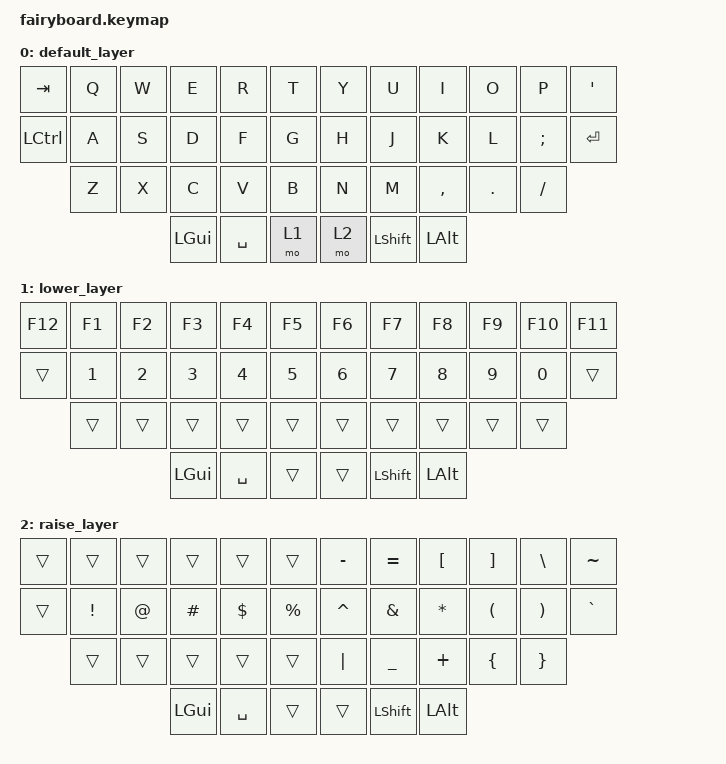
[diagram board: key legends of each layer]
/*
 * Copyright (c) 2020 The ZMK Contributors
 *
 * SPDX-License-Identifier: MIT
 * Modified for fairyboard by Steven Eisinger
 */

#include <behaviors.dtsi>
#include <dt-bindings/zmk/keys.h>
#include <dt-bindings/zmk/bt.h>

/ {
    keymap {
        compatible = "zmk,keymap";

        default_layer {
            bindings = <
&kp TAB    &kp Q     &kp W     &kp E    &kp R     &kp T     &kp Y     &kp U     &kp I     &kp O     &kp P     &kp SQT
&kp LCTRL  &kp A     &kp S     &kp D    &kp F     &kp G     &kp H     &kp J     &kp K     &kp L     &kp SEMI  &kp RET
           &kp Z     &kp X     &kp C    &kp V     &kp B     &kp N     &kp M     &kp COMMA &kp DOT   &kp FSLH 
                               &kp LGUI &kp SPACE &mo 1     &mo 2     &kp LSHFT &kp LALT
            >;
        };

        lower_layer {
            bindings = <
&kp F12  &kp F1  &kp F2  &kp F3  &kp F4    &kp F5     &kp F6 &kp F7 &kp F8     &kp F9    &kp F10  &kp F11
&trans   &kp N1  &kp N2  &kp N3  &kp N4    &kp N5     &kp N6 &kp N7 &kp N8     &kp N9    &kp N0   &trans
         &trans  &trans  &trans  &trans    &trans     &trans &trans &trans     &trans    &trans
                                 &kp LGUI  &kp SPACE  &trans &trans &kp LSHFT  &kp LALT
            >;
        };

        raise_layer {
            bindings = <
&trans  &trans    &trans  &trans    &trans     &trans     &kp MINUS  &kp EQUAL  &kp LBKT   &kp RBKT  &kp BSLH  &kp TILDE
&trans  &kp EXCL  &kp AT  &kp HASH  &kp DLLR   &kp PRCNT  &kp CARET  &kp AMPS   &kp ASTRK  &kp LPAR  &kp RPAR  &kp GRAVE
        &trans    &trans  &trans    &trans     &trans     &kp PIPE   &kp UNDER  &kp PLUS   &kp LBRC  &kp RBRC
                          &kp LGUI  &kp SPACE  &trans     &trans     &kp LSHFT  &kp LALT
            >;
        };
    };
};
